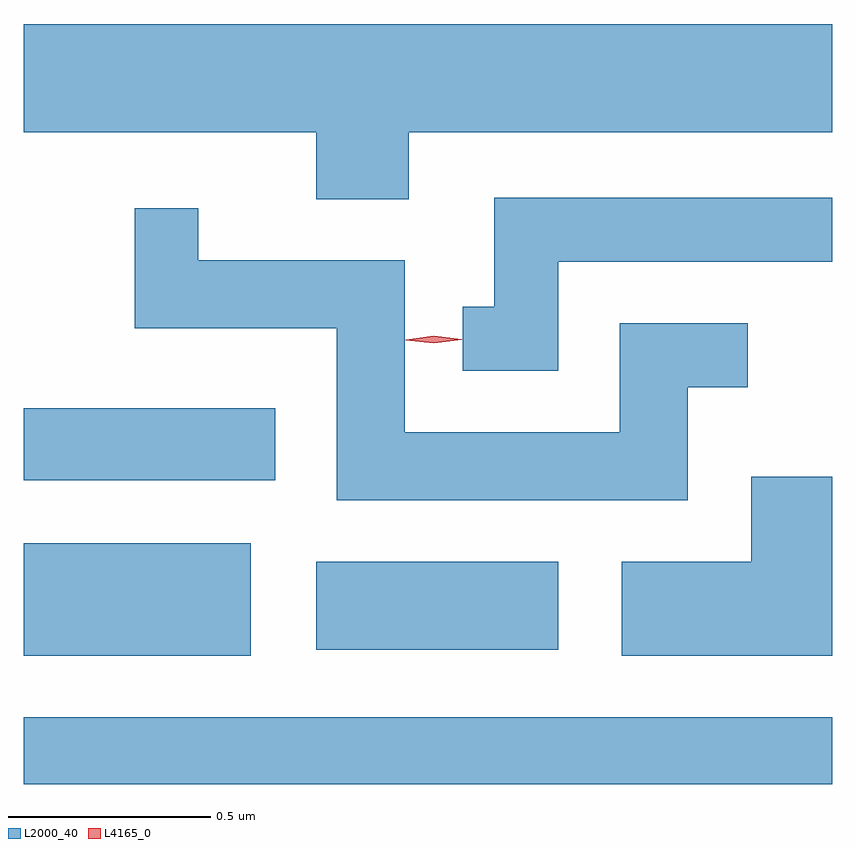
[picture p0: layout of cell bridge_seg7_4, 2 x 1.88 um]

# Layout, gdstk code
import gdstk
lib = gdstk.Library(unit=1e-6, precision=1e-09)
def R(c, l, rs):  # rectangles x0, y0, x1, y1
    for r in rs: c.add(gdstk.rectangle(r[:2], r[2:], *l))
def P(c, l, *ps):  # polygons
    for p in ps: c.add(gdstk.Polygon(p, *l))
L2000_40 = (2000, 40)
L4165_0 = (4165, 0)

bridge_seg7_4 = lib.new_cell('bridge_seg7_4')
R(bridge_seg7_4, L2000_40, [(1667.517,1757.104,1669.517,1757.269), (1667.517,1757.421,1668.079,1757.699), (1668.241,1757.436,1668.839,1757.654), (1667.517,1757.856,1668.139,1758.034)])
P(bridge_seg7_4, L2000_40, [(1668.469,1758.716),(1669.517,1758.716),(1669.517,1758.984),(1667.517,1758.984),(1667.517,1758.716),(1668.241,1758.716),(1668.241,1758.551),(1668.469,1758.551)],
  [(1668.839,1758.396),(1669.517,1758.396),(1669.517,1758.554),(1668.681,1758.554),(1668.681,1758.284),(1668.603,1758.284),(1668.603,1758.126),(1668.839,1758.126)],
  [(1669.159,1758.086),(1669.308,1758.086),(1669.308,1758.244),(1668.991,1758.244),(1668.991,1757.974),(1668.459,1757.974),(1668.459,1758.399),(1667.949,1758.399),(1667.949,1758.528),(1667.791,1758.528),(1667.791,1758.231),(1668.291,1758.231),(1668.291,1757.806),(1669.159,1757.806)],
  [(1669.517,1757.864),(1669.316,1757.864),(1669.316,1757.654),(1668.996,1757.654),(1668.996,1757.421),(1669.517,1757.421)])
P(bridge_seg7_4, L4165_0, [(1668.531,1758.194),(1668.462,1758.202),(1668.462,1758.203),(1668.462,1758.203),(1668.531,1758.213),(1668.601,1758.204),(1668.601,1758.204),(1668.601,1758.203)])

lib.write_gds('bridge_seg7_4.gds')
